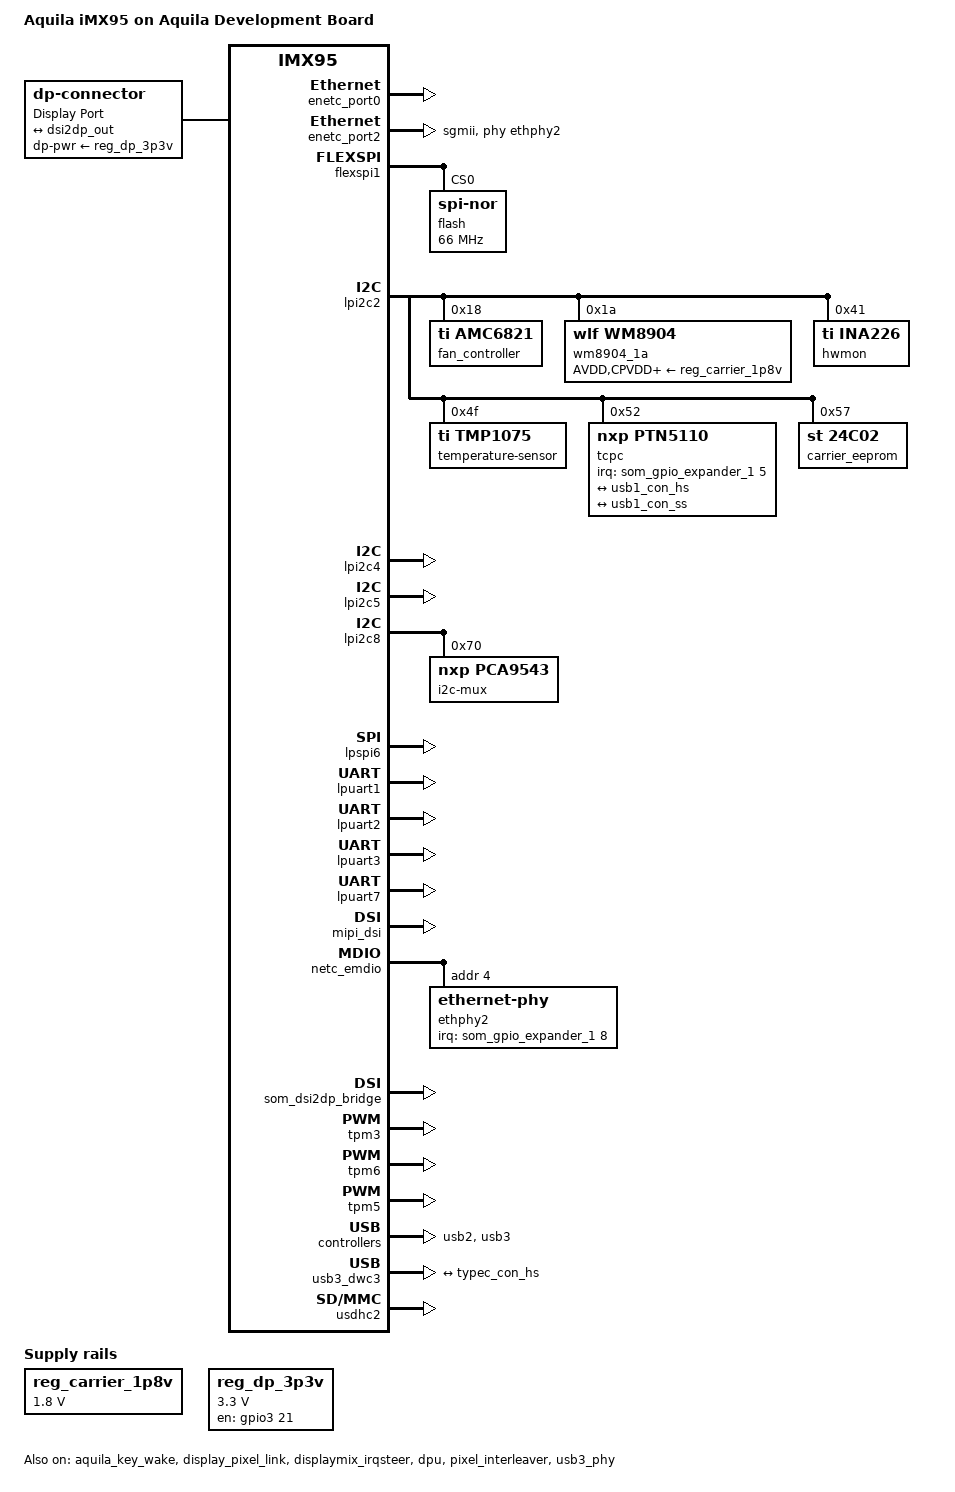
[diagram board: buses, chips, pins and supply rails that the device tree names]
// SPDX-License-Identifier: GPL-2.0-or-later OR MIT
/*
 * Copyright (C) 2025 Toradex
 *
 * https://www.toradex.com/computer-on-modules/aquila-arm-family/nxp-imx95
 * https://www.toradex.com/products/carrier-board/aquila-development-board-kit
 */

/dts-v1/;

#include <dt-bindings/pwm/pwm.h>
#include <dt-bindings/usb/pd.h>
#include "imx95-aquila.dtsi"

/ {
	model = "Aquila iMX95 on Aquila Development Board";
	compatible = "toradex,aquila-imx95-dev",
		     "toradex,aquila-imx95",
		     "fsl,imx95";

	aliases {
		eeprom1 = &carrier_eeprom;
	};

	dp0-connector {
		compatible = "dp-connector";
		dp-pwr-supply = <&reg_dp_3p3v>;
		label = "Display Port";
		type = "full-size";

		port {
			dp0_connector_in: endpoint {
				remote-endpoint = <&dsi2dp_out>;
			};
		};
	};

	reg_carrier_1p8v: regulator-carrier-1p8v {
		compatible = "regulator-fixed";
		regulator-max-microvolt = <1800000>;
		regulator-min-microvolt = <1800000>;
		regulator-name = "On-carrier 1V8";
	};

	reg_dp_3p3v: regulator-dp-3p3v {
		compatible = "regulator-fixed";
		pinctrl-names = "default";
		pinctrl-0 = <&pinctrl_gpio21_dp>;
		/* Aquila GPIO_21_DP */
		gpios = <&gpio3 21 GPIO_ACTIVE_HIGH>;
		enable-active-high;
		regulator-max-microvolt = <3300000>;
		regulator-min-microvolt = <3300000>;
		regulator-name = "DP_3V3";
		startup-delay-us = <10000>;
	};
};

/* Aquila CTRL_WAKE1_MICO# */
&aquila_key_wake {
	status = "okay";
};

&display_pixel_link {
	status = "okay";
};

&displaymix_irqsteer {
	status = "okay";
};

&dpu {
	assigned-clocks = <&scmi_clk IMX95_CLK_DISP1PIX>,
			  <&scmi_clk IMX95_CLK_VIDEOPLL1_VCO>,
			  <&scmi_clk IMX95_CLK_VIDEOPLL1>;
	assigned-clock-parents = <&scmi_clk IMX95_CLK_VIDEOPLL1>;
	assigned-clock-rates = <0>, <4008000000>, <445333334>;
	status = "okay";
};

&dsi2dp_out {
	remote-endpoint = <&dp0_connector_in>;
};

/* Aquila ETH_1 */
&enetc_port0 {
	status = "okay";
};

/* Aquila ETH_2_XGMII */
&enetc_port2 {
	phy-handle = <&ethphy2>;
	phy-mode = "sgmii";
	status = "okay";
};

/* Aquila QSPI_1 */
&flexspi1 {
	pinctrl-0 = <&pinctrl_flexspi1_4bit>,
		    <&pinctrl_qspi_cs1>;
	status = "okay";

	flash@0 {
		compatible = "jedec,spi-nor";
		reg = <0x0>;
		spi-max-frequency = <66000000>;
		spi-rx-bus-width = <4>;
		spi-tx-bus-width = <4>;
		cdns,read-delay = <0>;
		cdns,tchsh-ns = <3>;
		cdns,tsd2d-ns = <10>;
		cdns,tshsl-ns = <30>;
		cdns,tslch-ns = <8>;
	};
};

&gpio1 {
	pinctrl-0 = <&pinctrl_gpio8>;
};

&gpio4 {
	pinctrl-0 = <&pinctrl_gpio1>,
		    <&pinctrl_gpio2>,
		    <&pinctrl_gpio3>,
		    <&pinctrl_gpio4>,
		    <&pinctrl_gpio5>,
		    <&pinctrl_gpio6>,
		    <&pinctrl_gpio7>;
};

/* Aquila I2C_1 */
&lpi2c2 {
	status = "okay";

	fan_controller: fan@18 {
		compatible = "ti,amc6821";
		reg = <0x18>;
		#pwm-cells = <2>;

		fan {
			cooling-levels = <255>;
			pwms = <&fan_controller 40000 PWM_POLARITY_INVERTED>;
		};
	};

	wm8904_1a: audio-codec@1a {
		compatible = "wlf,wm8904";
		reg = <0x1a>;
		pinctrl-names = "default";
		pinctrl-0 = <&pinctrl_sai2_mclk>;
		clocks = <&scmi_clk IMX95_CLK_SAI2>;
		clock-names = "mclk";
		#sound-dai-cells = <0>;
		AVDD-supply = <&reg_carrier_1p8v>;
		CPVDD-supply = <&reg_carrier_1p8v>;
		DBVDD-supply = <&reg_carrier_1p8v>;
		DCVDD-supply = <&reg_carrier_1p8v>;
		MICVDD-supply = <&reg_carrier_1p8v>;

		wlf,drc-cfg-names = "default", "peaklimiter";
		/*
		 * Config registers per name, respectively:
		 * KNEE_IP = 0,   KNEE_OP = 0,     HI_COMP = 1,   LO_COMP = 1
		 * KNEE_IP = -24, KNEE_OP = -6,    HI_COMP = 1/4, LO_COMP = 1
		 */
		wlf,drc-cfg-regs = /bits/ 16 <0x01af 0x3248 0x0000 0x0000>,
				   /bits/ 16 <0x04af 0x324b 0x0010 0x0408>;

		/* GPIO1 = DMIC_CLK, don't touch others */
		wlf,gpio-cfg = <0x0018>, <0xffff>, <0xffff>, <0xffff>;

		wlf,in1r-as-dmicdat2;
	};

	/* Current measurement into module VCC */
	hwmon@41 {
		compatible = "ti,ina226";
		reg = <0x41>;
		shunt-resistor = <5000>;
	};

	temperature-sensor@4f {
		compatible = "ti,tmp1075";
		reg = <0x4f>;
	};

	/* USB-C OTG (TCPC USB PD PHY) */
	tcpc@52 {
		compatible = "nxp,ptn5110", "tcpci";
		reg = <0x52>;
		interrupt-parent = <&som_gpio_expander_1>;
		interrupts = <5 IRQ_TYPE_EDGE_FALLING>;

		connector {
			compatible = "usb-c-connector";
			label = "USB-C OTG";
			data-role = "dual";
			power-role = "dual";
			try-power-role = "sink";
			self-powered;
			source-pdos = <PDO_FIXED(5000, 3000, PDO_FIXED_USB_COMM)>;
			sink-pdos = <PDO_FIXED(5000, 3000, PDO_FIXED_USB_COMM)>;
			op-sink-microwatt = <1000000>;

			ports {
				#address-cells = <1>;
				#size-cells = <0>;

				port@0 {
					reg = <0>;

					typec_con_hs: endpoint {
						remote-endpoint = <&usb1_con_hs>;
					};
				};

				port@1 {
					reg = <1>;

					typec_con_ss: endpoint {
						remote-endpoint = <&usb1_con_ss>;
					};
				};
			};
		};
	};

	carrier_eeprom: eeprom@57 {
		compatible = "st,24c02", "atmel,24c02";
		reg = <0x57>;
		pagesize = <16>;
	};
};

/* Aquila I2C_4_CSI1 */
&lpi2c4 {
	status = "okay";
};

/* Aquila I2C_6 */
&lpi2c5 {
	status = "okay";
};

/* Aquila I2C_3_DSI1/I2C_5_CSI2 */
&lpi2c8 {
	status = "okay";

	i2c-mux@70 {
		compatible = "nxp,pca9543";
		reg = <0x70>;
		#address-cells = <1>;
		#size-cells = <0>;

		/* I2C on DSI Connector Pin #4 and #6 */
		i2c_dsi_0: i2c@0 {
			reg = <0>;
			#address-cells = <1>;
			#size-cells = <0>;
		};

		/* I2C on DSI Connector Pin #52 and #54 */
		i2c_dsi_1: i2c@1 {
			reg = <1>;
			#address-cells = <1>;
			#size-cells = <0>;
		};
	};
};

/* Aquila SPI_1 */
&lpspi6 {
	status = "okay";
};

/* Aquila UART_3, used as the Linux Console */
&lpuart1 {
	status = "okay";
};

/* Aquila UART_4 */
&lpuart2 {
	status = "okay";
};

/* Aquila UART_1 */
&lpuart3 {
	status = "okay";
};

/* Aquila UART_2 as RS485 */
&lpuart7 {
	linux,rs485-enabled-at-boot-time;
	rs485-rx-during-tx;
	status = "okay";
};

&mipi_dsi {
	status = "okay";
};

/* Aquila ETH_2_XGMII_MDIO, shared between all ethernet ports */
&netc_emdio {
	status = "okay";

	ethphy2: ethernet-phy@4 {
		reg = <4>;
		interrupt-parent = <&som_gpio_expander_1>;
		interrupts = <8 IRQ_TYPE_EDGE_FALLING>;
	};
};

&pixel_interleaver {
	#address-cells = <1>;
	#size-cells = <0>;
	status = "okay";

	channel@0 {
		reg = <0>;
		status = "okay";
	};
};

&som_dsi2dp_bridge {
	status = "okay";
};

/* Aquila PWM_1 */
&tpm3 {
	status = "okay";
};

/* Aquila PWM_2 */
&tpm6 {
	status = "okay";
};

/* Aquila PWM_3_DSI and PWM_4_DP */
&tpm5 {
	status = "okay";
};

/* Aquila USB_2, optional Bluetooth USB */
&usb2 {
	status = "okay";
};

/* Aquila USB_1 */
&usb3 {
	status = "okay";
};

&usb3_dwc3 {
	status = "okay";

	port {
		usb1_con_hs: endpoint {
			remote-endpoint = <&typec_con_hs>;
		};
	};
};

&usb3_phy {
	orientation-switch;
	status = "okay";

	port {
		usb1_con_ss: endpoint {
			remote-endpoint = <&typec_con_ss>;
		};
	};
};

/* Aquila SD_1 */
&usdhc2 {
	status = "okay";
};
